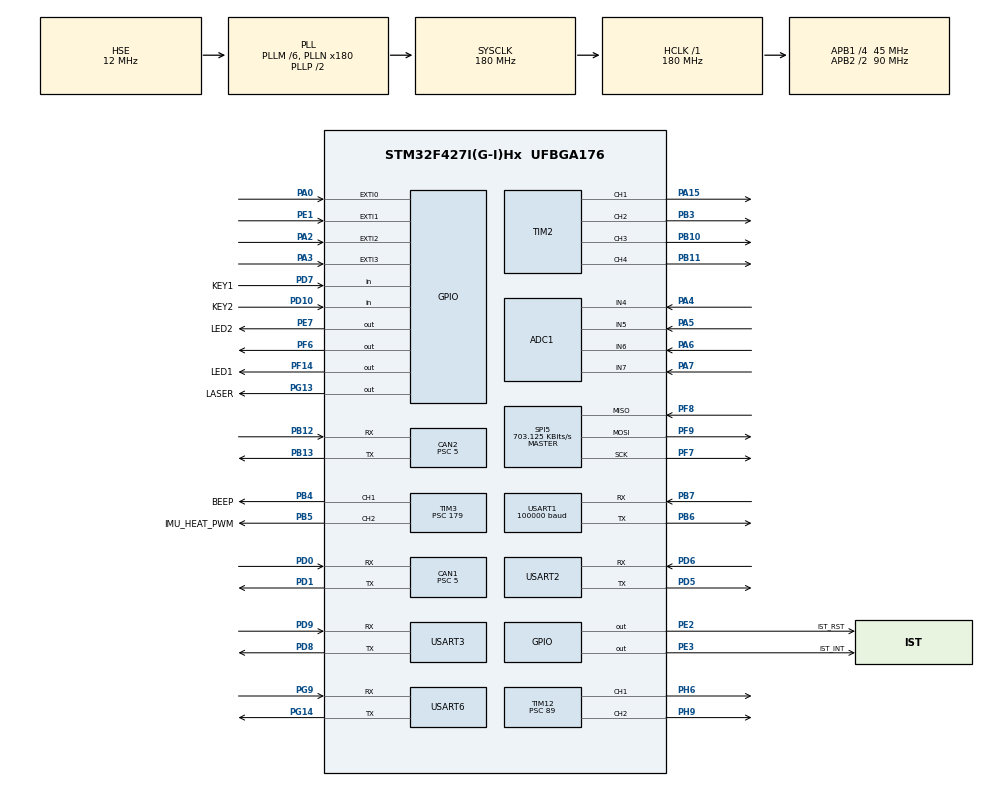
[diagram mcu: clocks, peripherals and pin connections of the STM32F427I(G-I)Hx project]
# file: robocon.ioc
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ADC1.Channel-0\#ChannelRegularConversion=ADC_CHANNEL_4
ADC1.Channel-1\#ChannelRegularConversion=ADC_CHANNEL_5
ADC1.Channel-2\#ChannelRegularConversion=ADC_CHANNEL_6
ADC1.Channel-3\#ChannelRegularConversion=ADC_CHANNEL_7
ADC1.ContinuousConvMode=ENABLE
ADC1.NbrOfConversion=4
ADC1.NbrOfConversionFlag=1
ADC1.Rank-0\#ChannelRegularConversion=1
ADC1.Rank-1\#ChannelRegularConversion=2
ADC1.Rank-2\#ChannelRegularConversion=3
ADC1.Rank-3\#ChannelRegularConversion=4
ADC1.SamplingTime-0\#ChannelRegularConversion=ADC_SAMPLETIME_3CYCLES
ADC1.SamplingTime-1\#ChannelRegularConversion=ADC_SAMPLETIME_3CYCLES
ADC1.SamplingTime-2\#ChannelRegularConversion=ADC_SAMPLETIME_3CYCLES
ADC1.SamplingTime-3\#ChannelRegularConversion=ADC_SAMPLETIME_3CYCLES
ADC1.ScanConvMode=ENABLE
ADC1.master=1
CAN1.ABOM=ENABLE
CAN1.BS1=CAN_BS1_3TQ
CAN1.BS2=CAN_BS2_5TQ
CAN1.CalculateBaudRate=1000000
CAN1.CalculateTimeBit=999.99
CAN1.CalculateTimeQuantum=111.11111111111111
CAN1.Prescaler=5
CAN1.SJW=CAN_SJW_1TQ
CAN2.ABOM=ENABLE
CAN2.BS1=CAN_BS1_3TQ
CAN2.BS2=CAN_BS2_5TQ
CAN2.CalculateBaudRate=1000000
CAN2.CalculateTimeBit=999.99
CAN2.CalculateTimeQuantum=111.11111111111111
CAN2.Prescaler=5
CAN2.SJW=CAN_SJW_4TQ
Dma.ADC1.4.Direction=DMA_PERIPH_TO_MEMORY
Dma.ADC1.4.FIFOMode=DMA_FIFOMODE_DISABLE
Dma.ADC1.4.Instance=DMA2_Stream0
Dma.ADC1.4.MemDataAlignment=DMA_MDATAALIGN_WORD
Dma.ADC1.4.MemInc=DMA_MINC_ENABLE
Dma.ADC1.4.Mode=DMA_CIRCULAR
Dma.ADC1.4.PeriphDataAlignment=DMA_PDATAALIGN_WORD
Dma.ADC1.4.PeriphInc=DMA_PINC_DISABLE
Dma.ADC1.4.Priority=DMA_PRIORITY_LOW
Dma.Request0=USART1_RX
Dma.Request1=USART2_RX
Dma.Request2=USART3_RX
Dma.Request3=USART6_RX
Dma.Request4=ADC1
Dma.USART1_RX.0.Direction=DMA_PERIPH_TO_MEMORY
Dma.USART1_RX.0.FIFOMode=DMA_FIFOMODE_DISABLE
Dma.USART1_RX.0.Instance=DMA2_Stream2
Dma.USART1_RX.0.MemDataAlignment=DMA_MDATAALIGN_BYTE
Dma.USART1_RX.0.MemInc=DMA_MINC_ENABLE
Dma.USART1_RX.0.Mode=DMA_NORMAL
Dma.USART1_RX.0.PeriphDataAlignment=DMA_PDATAALIGN_BYTE
Dma.USART1_RX.0.PeriphInc=DMA_PINC_DISABLE
Dma.USART1_RX.0.Priority=DMA_PRIORITY_LOW
Dma.USART2_RX.1.Direction=DMA_PERIPH_TO_MEMORY
Dma.USART2_RX.1.FIFOMode=DMA_FIFOMODE_DISABLE
Dma.USART2_RX.1.Instance=DMA1_Stream5
Dma.USART2_RX.1.MemDataAlignment=DMA_MDATAALIGN_BYTE
Dma.USART2_RX.1.MemInc=DMA_MINC_ENABLE
Dma.USART2_RX.1.Mode=DMA_NORMAL
Dma.USART2_RX.1.PeriphDataAlignment=DMA_PDATAALIGN_BYTE
Dma.USART2_RX.1.PeriphInc=DMA_PINC_DISABLE
Dma.USART2_RX.1.Priority=DMA_PRIORITY_LOW
Dma.USART3_RX.2.Direction=DMA_PERIPH_TO_MEMORY
Dma.USART3_RX.2.FIFOMode=DMA_FIFOMODE_DISABLE
Dma.USART3_RX.2.Instance=DMA1_Stream1
Dma.USART3_RX.2.MemDataAlignment=DMA_MDATAALIGN_BYTE
Dma.USART3_RX.2.MemInc=DMA_MINC_ENABLE
Dma.USART3_RX.2.Mode=DMA_NORMAL
Dma.USART3_RX.2.PeriphDataAlignment=DMA_PDATAALIGN_BYTE
Dma.USART3_RX.2.PeriphInc=DMA_PINC_DISABLE
Dma.USART3_RX.2.Priority=DMA_PRIORITY_LOW
Dma.USART6_RX.3.Direction=DMA_PERIPH_TO_MEMORY
Dma.USART6_RX.3.FIFOMode=DMA_FIFOMODE_DISABLE
Dma.USART6_RX.3.Instance=DMA2_Stream1
Dma.USART6_RX.3.MemDataAlignment=DMA_MDATAALIGN_BYTE
Dma.USART6_RX.3.MemInc=DMA_MINC_ENABLE
Dma.USART6_RX.3.Mode=DMA_NORMAL
Dma.USART6_RX.3.PeriphDataAlignment=DMA_PDATAALIGN_BYTE
Dma.USART6_RX.3.PeriphInc=DMA_PINC_DISABLE
Dma.USART6_RX.3.Priority=DMA_PRIORITY_LOW
FREERTOS.Tasks01=defaultTask,0,128,StartDefaultTask,Default,NULL,Dynamic,NULL,NULL;myTask02,-1,128,StartTask02,Default,NULL,Dynamic,NULL,NULL;myTask03,-1,128,StartTask03,Default,NULL,Dynamic,NULL,NULL
Mcu.Family=STM32F4
Mcu.Name=STM32F427I(G-I)Hx
Mcu.Package=UFBGA176
NVIC.CAN1_RX0_IRQn=true\:5\:0\:false\:false\:true\:true\:true\:true
NVIC.CAN1_TX_IRQn=true\:5\:0\:false\:false\:true\:true\:true\:true
NVIC.CAN2_RX0_IRQn=true\:5\:0\:false\:false\:true\:false\:true\:true
NVIC.CAN2_TX_IRQn=true\:5\:0\:false\:false\:true\:false\:true\:true
NVIC.DMA1_Stream1_IRQn=true\:5\:0\:false\:false\:true\:true\:true\:true
NVIC.DMA1_Stream5_IRQn=true\:5\:0\:false\:false\:true\:true\:true\:true
NVIC.DMA2_Stream0_IRQn=true\:5\:0\:false\:false\:true\:true\:false\:true
NVIC.DMA2_Stream1_IRQn=true\:5\:0\:false\:false\:true\:true\:true\:true
NVIC.DMA2_Stream2_IRQn=true\:5\:0\:false\:false\:true\:true\:true\:true
NVIC.PriorityGroup=NVIC_PRIORITYGROUP_4
NVIC.TIM6_DAC_IRQn=true\:0\:0\:false\:false\:true\:false\:true\:true
NVIC.TimeBase=TIM6_DAC_IRQn
NVIC.TimeBaseIP=TIM6
NVIC.USART1_IRQn=true\:5\:0\:false\:false\:true\:true\:true\:true
NVIC.USART2_IRQn=true\:5\:0\:false\:false\:true\:false\:true\:true
NVIC.USART3_IRQn=true\:5\:0\:false\:false\:true\:false\:true\:true
NVIC.USART6_IRQn=true\:5\:0\:false\:false\:true\:true\:true\:true
PA0/WKUP.Signal=GPXTI0
PA13.Mode=Serial_Wire
PA13.Signal=SYS_JTMS-SWDIO
PA14.Mode=Serial_Wire
PA14.Signal=SYS_JTCK-SWCLK
PA15.Signal=S_TIM2_CH1_ETR
PA2.Signal=GPXTI2
PA3.Signal=GPXTI3
PA4.Signal=ADCx_IN4
PA5.Signal=ADCx_IN5
PA6.Signal=ADCx_IN6
PA7.Signal=ADCx_IN7
PB10.Signal=S_TIM2_CH3
PB11.Signal=S_TIM2_CH4
PB12.Mode=CAN_Activate
PB12.Signal=CAN2_RX
PB13.Mode=CAN_Activate
PB13.Signal=CAN2_TX
PB3.Signal=S_TIM2_CH2
PB4.GPIO_Label=BEEP
PB4.Signal=S_TIM3_CH1
PB5.GPIO_Label=IMU_HEAT_PWM
PB5.Signal=S_TIM3_CH2
PB6.Mode=Asynchronous
PB6.Signal=USART1_TX
PB7.Mode=Asynchronous
PB7.Signal=USART1_RX
PD0.Mode=CAN_Activate
PD0.Signal=CAN1_RX
PD1.Mode=CAN_Activate
PD1.Signal=CAN1_TX
PD10.GPIO_Label=KEY2
PD10.Signal=GPIO_Input
PD5.Mode=Asynchronous
PD5.Signal=USART2_TX
PD6.Mode=Asynchronous
PD6.Signal=USART2_RX
PD7.GPIO_Label=KEY1
PD7.Signal=GPIO_Input
PD8.Mode=Asynchronous
PD8.Signal=USART3_TX
PD9.Mode=Asynchronous
PD9.Signal=USART3_RX
PE1.GPIO_ModeDefaultEXTI=GPIO_MODE_IT_FALLING
PE1.GPIO_PuPd=GPIO_PULLUP
PE1.Signal=GPXTI1
PE2.GPIO_Label=IST_RST
PE2.PinState=GPIO_PIN_SET
PE2.Signal=GPIO_Output
PE3.GPIO_Label=IST_INT
PE3.Signal=GPIO_Output
PE7.GPIO_Label=LED2
PE7.Signal=GPIO_Output
PF14.GPIO_Label=LED1
PF14.Signal=GPIO_Output
PF6.Signal=GPIO_Output
PF7.Mode=Full_Duplex_Master
PF7.Signal=SPI5_SCK
PF8.Mode=Full_Duplex_Master
PF8.Signal=SPI5_MISO
PF9.Mode=Full_Duplex_Master
PF9.Signal=SPI5_MOSI
PG13.GPIO_Label=LASER
PG13.Signal=GPIO_Output
PG14.Mode=Asynchronous
PG14.Signal=USART6_TX
PG9.Mode=Asynchronous
PG9.Signal=USART6_RX
PH0/OSC_IN.Mode=HSE-External-Oscillator
PH0/OSC_IN.Signal=RCC_OSC_IN
PH1/OSC_OUT.Mode=HSE-External-Oscillator
PH1/OSC_OUT.Signal=RCC_OSC_OUT
PH6.Signal=S_TIM12_CH1
PH9.Signal=S_TIM12_CH2
ProjectManager.HeapSize=0x200
ProjectManager.StackSize=0x400
ProjectManager.TargetToolchain=MDK-ARM V5
RCC.48MHZClocksFreq_Value=90000000
RCC.AHBFreq_Value=180000000
RCC.APB1CLKDivider=RCC_HCLK_DIV4
RCC.APB1Freq_Value=45000000
RCC.APB1TimFreq_Value=90000000
RCC.APB2CLKDivider=RCC_HCLK_DIV2
RCC.APB2Freq_Value=90000000
RCC.APB2TimFreq_Value=180000000
RCC.CortexFreq_Value=180000000
RCC.HCLKFreq_Value=180000000
RCC.HSE_VALUE=12000000
RCC.HSI_VALUE=16000000
RCC.LSE_VALUE=32768
RCC.PLLM=6
RCC.PLLN=180
RCC.PLLSourceVirtual=RCC_PLLSOURCE_HSE
RCC.SYSCLKFreq_VALUE=180000000
RCC.SYSCLKSource=RCC_SYSCLKSOURCE_PLLCLK
RCC.VCOOutputFreq_Value=360000000
SH.ADCx_IN4.0=ADC1_IN4,IN4
SH.ADCx_IN5.0=ADC1_IN5,IN5
SH.ADCx_IN6.0=ADC1_IN6,IN6
SH.ADCx_IN7.0=ADC1_IN7,IN7
SH.S_TIM12_CH1.0=TIM12_CH1,PWM Generation1 CH1
SH.S_TIM12_CH2.0=TIM12_CH2,PWM Generation2 CH2
SH.S_TIM2_CH1_ETR.0=TIM2_CH1,PWM Generation1 CH1
SH.S_TIM2_CH2.0=TIM2_CH2,PWM Generation2 CH2
SH.S_TIM2_CH3.0=TIM2_CH3,PWM Generation3 CH3
SH.S_TIM2_CH4.0=TIM2_CH4,PWM Generation4 CH4
SH.S_TIM3_CH1.0=TIM3_CH1,PWM Generation1 CH1
SH.S_TIM3_CH2.0=TIM3_CH2,PWM Generation2 CH2
SPI5.BaudRatePrescaler=SPI_BAUDRATEPRESCALER_128
SPI5.CalculateBaudRate=703.125 KBits/s
SPI5.Direction=SPI_DIRECTION_2LINES
SPI5.Mode=SPI_MODE_MASTER
SPI5.VirtualType=VM_MASTER
TIM12.Channel-PWM\ Generation1\ CH1=TIM_CHANNEL_1
TIM12.Channel-PWM\ Generation2\ CH2=TIM_CHANNEL_2
TIM12.Period=2499
TIM12.Prescaler=89
TIM12.Pulse-PWM\ Generation1\ CH1=1000
TIM12.Pulse-PWM\ Generation2\ CH2=1000
TIM2.Channel-PWM\ Generation1\ CH1=TIM_CHANNEL_1
TIM2.Channel-PWM\ Generation2\ CH2=TIM_CHANNEL_2
TIM2.Channel-PWM\ Generation3\ CH3=TIM_CHANNEL_3
TIM2.Channel-PWM\ Generation4\ CH4=TIM_CHANNEL_4
TIM3.Channel-PWM\ Generation1\ CH1=TIM_CHANNEL_1
TIM3.Channel-PWM\ Generation2\ CH2=TIM_CHANNEL_2
TIM3.Prescaler=179
USART1.BaudRate=100000
USART1.Parity=PARITY_EVEN
USART1.VirtualMode=VM_ASYNC
USART2.VirtualMode=VM_ASYNC
USART3.VirtualMode=VM_ASYNC
USART6.VirtualMode=VM_ASYNC
VP_FREERTOS_VS_CMSIS_V1.Mode=CMSIS_V1
VP_SYS_VS_tim6.Mode=TIM6
board=demo

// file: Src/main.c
/* USER CODE BEGIN Header */
/**
  ******************************************************************************
  * @file           : main.c
  * @brief          : Main program body
  ******************************************************************************
  * @attention
  *
  * <h2><center>&copy; Copyright (c) 2021 STMicroelectronics.
  * All rights reserved.</center></h2>
  *
  * This software component is licensed by ST under Ultimate Liberty license
  * SLA0044, the "License"; You may not use this file except in compliance with
  * the License. You may obtain a copy of the License at:
  *                             www.st.com/SLA0044
  *
  ******************************************************************************
  */
/* USER CODE END Header */
#include "main.h"
#include "cmsis_os.h"
#include "adc.h"
#include "can.h"
#include "dma.h"
#include "spi.h"
#include "tim.h"
#include "usart.h"
#include "gpio.h"

/* USER CODE BEGIN Includes */
#include "stm32f4xx_hal.h"
#include "bsp_imu.h"
#include "stdio.h"

/* USER CODE END Includes */

/* USER CODE BEGIN PV */
/* Private variables ---------------------------------------------------------*/

/* USER CODE END PV */

void SystemClock_Config(void);
void MX_FREERTOS_Init(void);
/* USER CODE BEGIN PFP */
/* Private function prototypes -----------------------------------------------*/

/* USER CODE END PFP */

int main(void)
{

    /* MCU Configuration--------------------------------------------------------*/

    /* Reset of all peripherals, Initializes the Flash interface and the Systick. */
    HAL_Init();

    /* Configure the system clock */
    SystemClock_Config();

    /* Initialize all configured peripherals */
    MX_GPIO_Init();
    MX_DMA_Init();
    MX_CAN1_Init();
    MX_CAN2_Init();
    MX_SPI5_Init();
    MX_TIM2_Init();
    MX_TIM3_Init();
    MX_TIM12_Init();
    MX_USART1_UART_Init();
    MX_USART2_UART_Init();
    MX_USART3_UART_Init();
    MX_USART6_UART_Init();
    MX_ADC1_Init();
    /* USER CODE BEGIN 2 */
    mpu_device_init();
    init_quaternion();
    mpu_get_data();
    imu_ahrs_update();
    imu_attitude_update();
    HAL_Delay(2000);
    /* USER CODE END 2 */

    /* Call init function for freertos objects (in freertos.c) */
    MX_FREERTOS_Init();
    /* Start scheduler */
    osKernelStart();

    /* We should never get here as control is now taken by the scheduler */
    /* Infinite loop */
    while (1)
    {

    }
}

void SystemClock_Config(void)
{
    RCC_OscInitTypeDef RCC_OscInitStruct = {0};
    RCC_ClkInitTypeDef RCC_ClkInitStruct = {0};

    /** Configure the main internal regulator output voltage
    */
    __HAL_RCC_PWR_CLK_ENABLE();
    __HAL_PWR_VOLTAGESCALING_CONFIG(PWR_REGULATOR_VOLTAGE_SCALE1);
    /** Initializes the RCC Oscillators according to the specified parameters
    * in the RCC_OscInitTypeDef structure.
    */
    RCC_OscInitStruct.OscillatorType = RCC_OSCILLATORTYPE_HSE;
    RCC_OscInitStruct.HSEState = RCC_HSE_ON;
    RCC_OscInitStruct.PLL.PLLState = RCC_PLL_ON;
    RCC_OscInitStruct.PLL.PLLSource = RCC_PLLSOURCE_HSE;
    RCC_OscInitStruct.PLL.PLLM = 6;
    RCC_OscInitStruct.PLL.PLLN = 180;
    RCC_OscInitStruct.PLL.PLLP = RCC_PLLP_DIV2;
    RCC_OscInitStruct.PLL.PLLQ = 4;
    if (HAL_RCC_OscConfig(&RCC_OscInitStruct) != HAL_OK)
    {
        Error_Handler();
    }
    /** Activate the Over-Drive mode
    */
    if (HAL_PWREx_EnableOverDrive() != HAL_OK)
    {
        Error_Handler();
    }
    /** Initializes the CPU, AHB and APB buses clocks
    */
    RCC_ClkInitStruct.ClockType = RCC_CLOCKTYPE_HCLK | RCC_CLOCKTYPE_SYSCLK
                                  | RCC_CLOCKTYPE_PCLK1 | RCC_CLOCKTYPE_PCLK2;
    RCC_ClkInitStruct.SYSCLKSource = RCC_SYSCLKSOURCE_PLLCLK;
    RCC_ClkInitStruct.AHBCLKDivider = RCC_SYSCLK_DIV1;
    RCC_ClkInitStruct.APB1CLKDivider = RCC_HCLK_DIV4;
    RCC_ClkInitStruct.APB2CLKDivider = RCC_HCLK_DIV2;

    if (HAL_RCC_ClockConfig(&RCC_ClkInitStruct, FLASH_LATENCY_5) != HAL_OK)
    {
        Error_Handler();
    }
}

void HAL_TIM_PeriodElapsedCallback(TIM_HandleTypeDef *htim)
{
    if (htim->Instance == TIM6) {
        HAL_IncTick();
    }
}

void Error_Handler(void)
{
    __disable_irq();
    while (1)
    {
    }
}

/************************ (C) COPYRIGHT STMicroelectronics *****END OF FILE****/

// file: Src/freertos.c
/* USER CODE BEGIN Header */
/**
  ******************************************************************************
  * File Name          : freertos.c
  * Description        : Code for freertos applications
  ******************************************************************************
  * @attention
  *
  * <h2><center>&copy; Copyright (c) 2021 STMicroelectronics.
  * All rights reserved.</center></h2>
  *
  * This software component is licensed by ST under Ultimate Liberty license
  * SLA0044, the "License"; You may not use this file except in compliance with
  * the License. You may obtain a copy of the License at:
  *                             www.st.com/SLA0044
  *
  ******************************************************************************
  */
/* USER CODE END Header */

#include "FreeRTOS.h"
#include "task.h"
#include "main.h"
#include "cmsis_os.h"

/* USER CODE BEGIN Includes */
#include "pid.h"
#include "bsp_can.h"
#include "mytype.h"
#include "tim.h"
#include "stdio.h"
#include "main.h"
/* USER CODE END Includes */

/* USER CODE BEGIN PTD */
#include "bsp_imu.h"
float speed = 0.2;
char buf[300];
extern UART_HandleTypeDef huart6;
extern ADC_HandleTypeDef hadc1;
uint32_t ADC_Value[100];
uint32_t ad1,ad2,ad3,ad4;
#define COUNTOF(__BUFFER__)   (sizeof(__BUFFER__) / sizeof(*(__BUFFER__)))
/* USER CODE END PTD */

osThreadId defaultTaskHandle;
osThreadId myTask02Handle;
osThreadId myTask03Handle;

/* USER CODE BEGIN FunctionPrototypes */
void set_total_angle(moto_measure_t *p, moto_measure_t *p1, int angle, u8 dir, u16 speed);
void weizhihuan(moto_measure_t *p, int angle);
/* USER CODE END FunctionPrototypes */

void StartDefaultTask(void const * argument);
void StartTask02(void const * argument);
void StartTask03(void const * argument);

void MX_FREERTOS_Init(void); /* (MISRA C 2004 rule 8.1) */

/* GetIdleTaskMemory prototype (linked to static allocation support) */
void vApplicationGetIdleTaskMemory( StaticTask_t **ppxIdleTaskTCBBuffer, StackType_t **ppxIdleTaskStackBuffer, uint32_t *pulIdleTaskStackSize );

/* USER CODE BEGIN GET_IDLE_TASK_MEMORY */
static StaticTask_t xIdleTaskTCBBuffer;
static StackType_t xIdleStack[configMINIMAL_STACK_SIZE];

void vApplicationGetIdleTaskMemory( StaticTask_t **ppxIdleTaskTCBBuffer, StackType_t **ppxIdleTaskStackBuffer, uint32_t *pulIdleTaskStackSize )
{
    *ppxIdleTaskTCBBuffer = &xIdleTaskTCBBuffer;
    *ppxIdleTaskStackBuffer = &xIdleStack[0];
    *pulIdleTaskStackSize = configMINIMAL_STACK_SIZE;
    /* place for user code */
}
/* USER CODE END GET_IDLE_TASK_MEMORY */

void MX_FREERTOS_Init(void) {

    /* Create the thread(s) */
    /* definition and creation of defaultTask */
    osThreadDef(defaultTask, StartDefaultTask, osPriorityNormal, 0, 128);
    defaultTaskHandle = osThreadCreate(osThread(defaultTask), NULL);

    /* definition and creation of myTask02 */
    osThreadDef(myTask02, StartTask02, osPriorityBelowNormal, 0, 128);
    myTask02Handle = osThreadCreate(osThread(myTask02), NULL);

    /* definition and creation of myTask03 */
    osThreadDef(myTask03, StartTask03, osPriorityBelowNormal, 0, 128);
    myTask03Handle = osThreadCreate(osThread(myTask03), NULL);

}

void StartDefaultTask(void const * argument)
{
    /* USER CODE BEGIN StartDefaultTask */
    my_can_filter_init_recv_all(&hcan1);
    my_can_filter_init_recv_all(&hcan2);
    HAL_CAN_ActivateNotification(&hcan1, CAN_IT_RX_FIFO0_MSG_PENDING );	// Enable interrupts
    HAL_CAN_ActivateNotification(&hcan2, CAN_IT_RX_FIFO0_MSG_PENDING );	// Enable interrupts
    //	PID_struct_init(&pid_omg, POSITION_PID, 20000, 20000,
    //									1.5f,	0.1f,	0.0f	);  //angular rate closeloop.
    for(int i = 0; i < 4; i++)
    {
        PID_struct_init(&pid_spd[i], POSITION_PID, 20000, 20000,
                        8.7f,	0.001f, 0.0f	); //4 motos angular rate closeloop.. 1.5f,	0.001f, 0.0f  0.09f,	0.0f, 0.45f weizhi_pid

        PID_struct_init(&weizhi_pid[i], POSITION_PID, 20000, 20000,
                        0.72f,	0.00f, 0.3f	);
        PID_struct_init(&shudu_pid[i], POSITION_PID, 20000, 20000,
                        1.5f,	0.0f, 0.0f	);
    }

		  for(int i = 4; i < 8; i++)//堕轮转向Pid
    {
        PID_struct_init(&weizhi_pid[i], DELTA_PID, 20000, 20000,
                        0.72f,	0.00f, 0.3f	);
        PID_struct_init(&shudu_pid[i], POSITION_PID, 20000, 20000,
                        1.5f,	0.0f, 0.0f	);
    }
	 PID_struct_init(&yaw_pos,DELTA_PID,20000,20000,10.0f,0.0f,0.0f);//yaw pid
    __HAL_TIM_SetCompare(&htim2, TIM_CHANNEL_1, 1000);
    __HAL_TIM_SetCompare(&htim2, TIM_CHANNEL_2, 1000);
    __HAL_TIM_SetCompare(&htim2, TIM_CHANNEL_3, 1000);
    __HAL_TIM_SetCompare(&htim2, TIM_CHANNEL_4, 1000);	//ppm must be 1000 at first time.
    HAL_Delay(100);
    /* Infinite loop */

    /* Infinite loop */
    for(;;)
    {
//		 set_total_angle(&moto_chassis[1], &moto_chassis[0], 8192 * 19.2 * 5,  1, 500 );
//		  while(1)
//        {
//		 pid_calc(&pid_spd[0],moto_chassis[0].speed_rpm,0);
//            pid_calc(&pid_spd[1], moto_chassis[1].speed_rpm, 0);
//            set_moto_current(&hcan1, pid_spd[0].pos_out,
//                             pid_spd[1].pos_out,
//                             pid_spd[2].pos_out,
//                             pid_spd[3].pos_out);
        weizhihuan(&moto_chassis[1], 8192 * 19.2 * 10);//舵轮速度
			   weizhihuan(&moto_chassis[5], 8192 * 19.2 * 2);//舵轮转向
        osDelay(5);
//        }

        osDelay(1);
    }
    /* USER CODE END StartDefaultTask */
}

void StartTask02(void const * argument)//读取角度
{
    /* USER CODE BEGIN StartTask02 */
	  u8 i;
    HAL_ADC_Start_DMA(&hadc1, (uint32_t*)&ADC_Value, 100);
    /* Infinite loop */
    for(;;)
    {
        for(i = 0, ad1 = 0, ad2 = 0; i < 100;) {
            ad1 += ADC_Value[i++];
            ad2 += ADC_Value[i++];
					  ad3 += ADC_Value[i++];
					  ad4 += ADC_Value[i++];
        }
        ad1 /= 25;
        ad2 /= 25;
				ad3 /= 25;
        ad4 /= 25;
				printf("AD1_value=%1.3fV  AD2_value=%1.3fV  AD3_value=%1.3fV  AD4_value=%1.3fV\r\n", ad1*3.3f/4096,ad2*3.3f/4096,ad3*3.3f/4096,ad4*3.3f/4096);
				ad1=ad2=ad3=ad4=0;
        osDelay(1);
    }
    /* USER CODE END StartTask02 */
}

void StartTask03(void const * argument)//读取imu
{
    /* USER CODE BEGIN StartTask03 */
    /* Infinite loop */
    for(;;)
    {
        mpu_get_data();
        imu_ahrs_update();
        imu_attitude_update();
        sprintf(buf, " Roll: %8.3lf    Pitch: %8.3lf    Yaw: %8.3lf\r\n", imu.rol, imu.pit, imu.yaw);
        HAL_UART_Transmit(&huart6, (uint8_t *)buf, (COUNTOF(buf) - 1), 55);
        HAL_Delay(5);
        osDelay(1);
    }
    /* USER CODE END StartTask03 */
}

/* USER CODE BEGIN Application */
void set_total_angle(moto_measure_t *p, moto_measure_t *p1, int angle, u8 dir, u16 speed)
{
//	 int round=0;
    get_total_angle(p);

//	 if(p->angle>p->last_angle)
//		 round=1;
    if(dir == 1) //+
    {
        while(p->total_angle < angle)
        {
//             printf("currend:%d  speed:%d \r\n",p->total_angle,p->speed_rpm);
            pid_calc(&pid_spd[0], p->speed_rpm, speed);
            printf("currend:%d  speed:%f \r\n", p->total_angle, pid_spd[0].pos_out);
//		  pid_calc(&pid_spd[1], p1->speed_rpm, -500);
            get_total_angle(p);
            set_moto_current(&hcan1, 0,
                             pid_spd[0].pos_out,
                             pid_spd[2].pos_out,
                             pid_spd[3].pos_out);
        }
    }
    else//-
    {   while(p->total_angle > -angle)
        {
//			pid_calc(&pid_spd[1], p1->speed_rpm, 500);
            pid_calc(&pid_spd[0], p->speed_rpm, -speed);
            printf("currend:%d\r\n", p->total_angle);
            get_total_angle(p);
//				abs_limit(&pid_spd[0].pos_out,5);
//			printf("total:%d\r\n",p->total_angle);
            set_moto_current(&hcan1, pid_spd[0].pos_out,
                             pid_spd[0].pos_out,
                             pid_spd[2].pos_out,
                             pid_spd[3].pos_out);
        }
    }

    pid_calc(&pid_spd[0], p->speed_rpm, 0);
    pid_calc(&pid_spd[1], p1->speed_rpm, 0);

}
void weizhihuan(moto_measure_t *p, int angle)
{

    pid_calc(&weizhi_pid[0], p->total_angle, angle); //位置环
//		get_total_angle(p);
    pid_calc(&pid_spd[0], p->speed_rpm, weizhi_pid[0].pos_out * speed);//速度环
//	  abs_limit(&pid_spd[0].pos_out, 2000);
//	  abs_limit(&pid_spd[0].pos_out, 1000);
    set_moto_current(&hcan1, 0,
                     pid_spd[0].pos_out,
                     0,
                     0);
}

/* USER CODE END Application */

/************************ (C) COPYRIGHT STMicroelectronics *****END OF FILE****/
